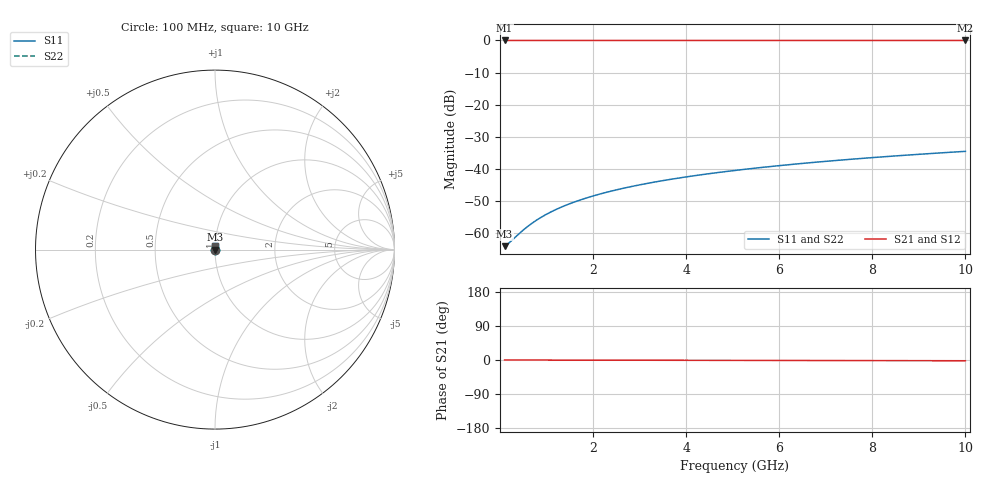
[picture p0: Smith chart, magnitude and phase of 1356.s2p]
# Hz S RI R 50.00
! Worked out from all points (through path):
!   100 points, 100 MHz to 10 GHz, reference 50 ohm
!   highest |S21| = -0.01 dB at 100 MHz (marker M1); lowest = 0.0 dB at 10 GHz (marker M2)
!   lowest |S11| = -64.1 dB at 100 MHz (marker M3), VSWR 1.00, Z = 50.1 + j0.0186 ohm
!   |S11| at or under -10 dB: start of sweep to end of sweep
!   |S22| runs from -64.1 to -34.6 dB; largest |S21 - S12| = 1e-14
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1e8  0.000595 0.000186  0.9994 -0.000348  0.9994 -0.000348  0.000595 0.000186
2e8  0.000599 0.000372  0.9994 -0.000695  0.9994 -0.000695  0.000599 0.000372
4e8  0.000605 0.000744  0.9994 -0.00139  0.9994 -0.00139  0.000605 0.000744
5e8  0.000608 0.000929  0.9994 -0.00174  0.9994 -0.00174  0.000608 0.000929
6e8  0.00061 0.00112  0.9994 -0.00209  0.9994 -0.00209  0.00061 0.00112
7e8  0.000612 0.0013  0.9994 -0.00243  0.9994 -0.00243  0.000612 0.0013
9e8  0.000617 0.00167  0.9994 -0.00313  0.9994 -0.00313  0.000617 0.00167
1.1e9  0.000622 0.00204  0.9994 -0.00383  0.9994 -0.00383  0.000622 0.00204
1.3e9  0.000627 0.00242  0.9994 -0.00452  0.9994 -0.00452  0.000627 0.00242
1.5e9  0.000633 0.00279  0.9994 -0.00522  0.9994 -0.00522  0.000633 0.00279
1.8e9  0.000642 0.00335  0.9994 -0.00626  0.9994 -0.00626  0.000642 0.00335
2.1e9  0.000652 0.0039  0.9993 -0.0073  0.9993 -0.0073  0.000652 0.0039
2.5e9  0.000666 0.00465  0.9993 -0.0087  0.9993 -0.0087  0.000666 0.00465
2.9e9  0.000683 0.00539  0.9993 -0.0101  0.9993 -0.0101  0.000683 0.00539
3.4e9  0.000706 0.00632  0.9993 -0.0118  0.9993 -0.0118  0.000706 0.00632
4.2e9  0.00075 0.00781  0.9992 -0.0146  0.9992 -0.0146  0.00075 0.00781
5.1e9  0.000809 0.00949  0.9991 -0.0178  0.9991 -0.0178  0.000809 0.00949
5.9e9  0.00087 0.011  0.9991 -0.0206  0.9991 -0.0206  0.00087 0.011
6.7e9  0.00094 0.0125  0.999 -0.0234  0.999 -0.0234  0.00094 0.0125
7.5e9  0.00102 0.014  0.9989 -0.0262  0.9989 -0.0262  0.00102 0.014
8.4e9  0.00112 0.0157  0.9988 -0.0293  0.9988 -0.0293  0.00112 0.0157
1e10  0.00132 0.0187  0.9985 -0.0349  0.9985 -0.0349  0.00132 0.0187
